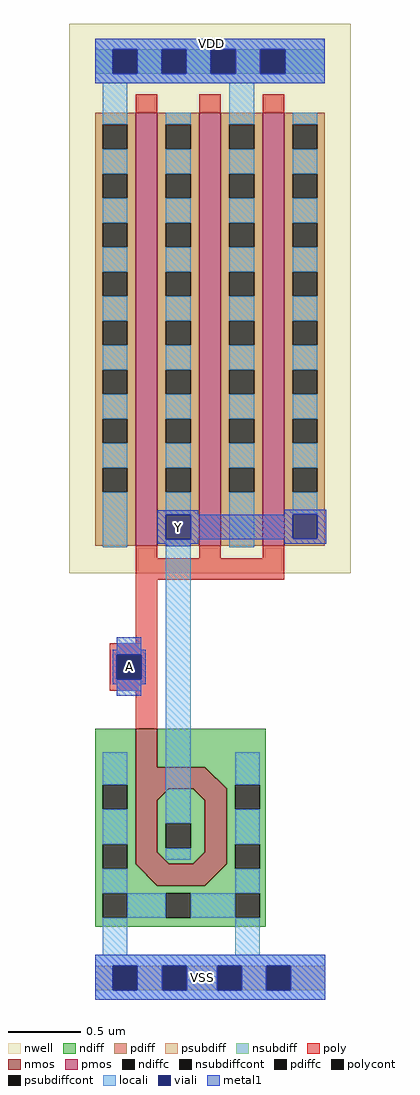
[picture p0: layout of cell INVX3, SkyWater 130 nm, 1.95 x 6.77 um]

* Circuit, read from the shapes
.subckt INVX3 VDD A VSS Y
XM1 VSS A Y VSS sky130_fd_pr__nfet_01v8 w=2.49 l=0.1463
XM2 Y A VDD VDD sky130_fd_pr__pfet_01v8 w=3 l=0.15 m=3
.ends

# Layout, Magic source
magic
tech sky130A
magscale 1 2
<< nwell >>
rect -36 591 354 1353
<< nmos >>
rect 56 322 86 375
rect 56 292 152 322
tri 152 292 182 322 sw
rect 56 188 86 292
tri 86 276 102 292 nw
tri 136 276 152 292 ne
tri 86 188 102 204 sw
tri 136 188 152 204 se
rect 152 188 182 292
tri 56 158 86 188 ne
rect 86 158 152 188
tri 152 158 182 188 nw
<< pmos >>
rect 56 629 86 1229
rect 144 629 174 1229
rect 232 629 262 1229
<< ndiff >>
rect 0 298 56 375
rect 86 322 236 375
rect 0 264 10 298
rect 44 264 56 298
tri 152 292 182 322 ne
rect 182 298 236 322
rect 0 215 56 264
rect 0 181 10 215
rect 44 181 56 215
tri 86 276 102 292 se
rect 102 276 136 292
tri 136 276 152 292 sw
rect 86 244 152 276
rect 86 210 98 244
rect 132 210 152 244
rect 86 204 152 210
tri 86 188 102 204 ne
rect 102 188 136 204
tri 136 188 152 204 nw
rect 182 264 194 298
rect 228 264 236 298
rect 182 215 236 264
rect 0 158 56 181
tri 56 158 86 188 sw
tri 152 158 182 188 se
rect 182 181 194 215
rect 228 181 236 215
rect 182 158 236 181
rect 0 147 236 158
rect 0 113 10 147
rect 44 113 98 147
rect 132 113 194 147
rect 228 113 236 147
rect 0 101 236 113
<< pdiff >>
rect 0 1213 56 1229
rect 0 1179 10 1213
rect 44 1179 56 1213
rect 0 1145 56 1179
rect 0 1111 10 1145
rect 44 1111 56 1145
rect 0 1077 56 1111
rect 0 1043 10 1077
rect 44 1043 56 1077
rect 0 1009 56 1043
rect 0 975 10 1009
rect 44 975 56 1009
rect 0 941 56 975
rect 0 907 10 941
rect 44 907 56 941
rect 0 873 56 907
rect 0 839 10 873
rect 44 839 56 873
rect 0 805 56 839
rect 0 771 10 805
rect 44 771 56 805
rect 0 737 56 771
rect 0 703 10 737
rect 44 703 56 737
rect 0 629 56 703
rect 86 1213 144 1229
rect 86 1179 98 1213
rect 132 1179 144 1213
rect 86 1145 144 1179
rect 86 1111 98 1145
rect 132 1111 144 1145
rect 86 1077 144 1111
rect 86 1043 98 1077
rect 132 1043 144 1077
rect 86 1009 144 1043
rect 86 975 98 1009
rect 132 975 144 1009
rect 86 941 144 975
rect 86 907 98 941
rect 132 907 144 941
rect 86 873 144 907
rect 86 839 98 873
rect 132 839 144 873
rect 86 805 144 839
rect 86 771 98 805
rect 132 771 144 805
rect 86 737 144 771
rect 86 703 98 737
rect 132 703 144 737
rect 86 629 144 703
rect 174 1213 232 1229
rect 174 1179 186 1213
rect 220 1179 232 1213
rect 174 1145 232 1179
rect 174 1111 186 1145
rect 220 1111 232 1145
rect 174 1077 232 1111
rect 174 1043 186 1077
rect 220 1043 232 1077
rect 174 1009 232 1043
rect 174 975 186 1009
rect 220 975 232 1009
rect 174 941 232 975
rect 174 907 186 941
rect 220 907 232 941
rect 174 873 232 907
rect 174 839 186 873
rect 220 839 232 873
rect 174 805 232 839
rect 174 771 186 805
rect 220 771 232 805
rect 174 737 232 771
rect 174 703 186 737
rect 220 703 232 737
rect 174 629 232 703
rect 262 1213 318 1229
rect 262 1179 274 1213
rect 308 1179 318 1213
rect 262 1145 318 1179
rect 262 1111 274 1145
rect 308 1111 318 1145
rect 262 1077 318 1111
rect 262 1043 274 1077
rect 308 1043 318 1077
rect 262 1009 318 1043
rect 262 975 274 1009
rect 308 975 318 1009
rect 262 941 318 975
rect 262 907 274 941
rect 308 907 318 941
rect 262 873 318 907
rect 262 839 274 873
rect 308 839 318 873
rect 262 805 318 839
rect 262 771 274 805
rect 308 771 318 805
rect 262 737 318 771
rect 262 703 274 737
rect 308 703 318 737
rect 262 629 318 703
<< ndiffc >>
rect 10 264 44 298
rect 10 181 44 215
rect 98 210 132 244
rect 194 264 228 298
rect 194 181 228 215
rect 10 113 44 147
rect 98 113 132 147
rect 194 113 228 147
<< pdiffc >>
rect 10 1179 44 1213
rect 10 1111 44 1145
rect 10 1043 44 1077
rect 10 975 44 1009
rect 10 907 44 941
rect 10 839 44 873
rect 10 771 44 805
rect 10 703 44 737
rect 98 1179 132 1213
rect 98 1111 132 1145
rect 98 1043 132 1077
rect 98 975 132 1009
rect 98 907 132 941
rect 98 839 132 873
rect 98 771 132 805
rect 98 703 132 737
rect 186 1179 220 1213
rect 186 1111 220 1145
rect 186 1043 220 1077
rect 186 975 220 1009
rect 186 907 220 941
rect 186 839 220 873
rect 186 771 220 805
rect 186 703 220 737
rect 274 1179 308 1213
rect 274 1111 308 1145
rect 274 1043 308 1077
rect 274 975 308 1009
rect 274 907 308 941
rect 274 839 308 873
rect 274 771 308 805
rect 274 703 308 737
<< psubdiff >>
rect 0 13 24 47
rect 58 13 93 47
rect 127 13 169 47
rect 203 13 237 47
rect 271 13 319 47
<< nsubdiff >>
rect 0 1283 24 1317
rect 58 1283 92 1317
rect 126 1283 160 1317
rect 195 1283 229 1317
rect 263 1283 318 1317
<< psubdiffcont >>
rect 24 13 58 47
rect 93 13 127 47
rect 169 13 203 47
rect 237 13 271 47
<< nsubdiffcont >>
rect 24 1283 58 1317
rect 92 1283 126 1317
rect 160 1283 195 1317
rect 229 1283 263 1317
<< poly >>
rect 56 1229 86 1255
rect 144 1229 174 1255
rect 232 1229 262 1255
rect 56 612 86 629
rect 144 612 174 629
rect 232 612 262 629
rect 56 582 262 612
rect 56 494 86 582
rect 20 478 86 494
rect 20 444 30 478
rect 64 444 86 478
rect 20 428 86 444
rect 56 375 86 428
<< polycont >>
rect 30 444 64 478
<< locali >>
rect 0 1317 318 1332
rect 0 1283 24 1317
rect 58 1283 92 1317
rect 126 1283 160 1317
rect 195 1283 229 1317
rect 263 1283 318 1317
rect 0 1270 318 1283
rect 10 1213 44 1270
rect 10 1145 44 1179
rect 10 1077 44 1111
rect 10 1009 44 1043
rect 10 941 44 975
rect 10 873 44 907
rect 10 805 44 839
rect 10 737 44 771
rect 10 627 44 703
rect 98 1213 132 1229
rect 98 1145 132 1179
rect 98 1077 132 1111
rect 98 1009 132 1043
rect 98 941 132 975
rect 98 873 132 907
rect 98 805 132 839
rect 98 737 132 771
rect 98 672 132 703
rect 30 478 64 494
rect 30 428 64 444
rect 10 298 44 343
rect 10 215 44 264
rect 98 244 132 638
rect 186 1213 220 1270
rect 186 1145 220 1179
rect 186 1077 220 1111
rect 186 1009 220 1043
rect 186 941 220 975
rect 186 873 220 907
rect 186 805 220 839
rect 186 737 220 771
rect 186 627 220 703
rect 274 1213 308 1229
rect 274 1145 308 1179
rect 274 1077 308 1111
rect 274 1009 308 1043
rect 274 941 308 975
rect 274 873 308 907
rect 274 805 308 839
rect 274 737 308 771
rect 274 673 308 703
rect 98 194 132 210
rect 194 298 228 343
rect 194 215 228 264
rect 10 147 44 181
rect 194 147 228 181
rect 44 113 98 147
rect 132 113 194 147
rect 10 62 44 113
rect 194 62 228 113
rect 0 47 319 62
rect 0 13 24 47
rect 58 13 93 47
rect 127 13 169 47
rect 203 13 237 47
rect 271 13 319 47
rect 0 0 319 13
<< viali >>
rect 24 1283 58 1317
rect 92 1283 126 1317
rect 160 1283 195 1317
rect 229 1283 263 1317
rect 98 638 132 672
rect 30 444 64 478
rect 274 639 308 673
rect 24 13 58 47
rect 93 13 127 47
rect 169 13 203 47
rect 237 13 271 47
<< metal1 >>
rect 0 1317 318 1332
rect 0 1283 24 1317
rect 58 1283 92 1317
rect 126 1283 160 1317
rect 195 1283 229 1317
rect 263 1283 318 1317
rect 0 1270 318 1283
rect 86 672 143 678
rect 262 673 320 679
rect 262 672 274 673
rect 86 638 98 672
rect 132 639 274 672
rect 308 639 320 673
rect 132 638 320 639
rect 86 632 143 638
rect 262 632 320 638
rect 98 628 132 632
rect 30 485 64 502
rect 24 478 70 485
rect 24 444 30 478
rect 64 444 70 478
rect 24 437 70 444
rect 30 421 64 437
rect 0 47 319 62
rect 0 13 24 47
rect 58 13 93 47
rect 127 13 169 47
rect 203 13 237 47
rect 271 13 319 47
rect 0 0 319 13
<< labels >>
rlabel metal1 161 1325 161 1325 1 VDD
port 1 n
rlabel metal1 30 444 64 478 1 A
port 2 n
rlabel metal1 148 31 148 31 1 VSS
port 3 n
rlabel metal1 98 638 132 672 1 Y
port 4 n
<< end >>
